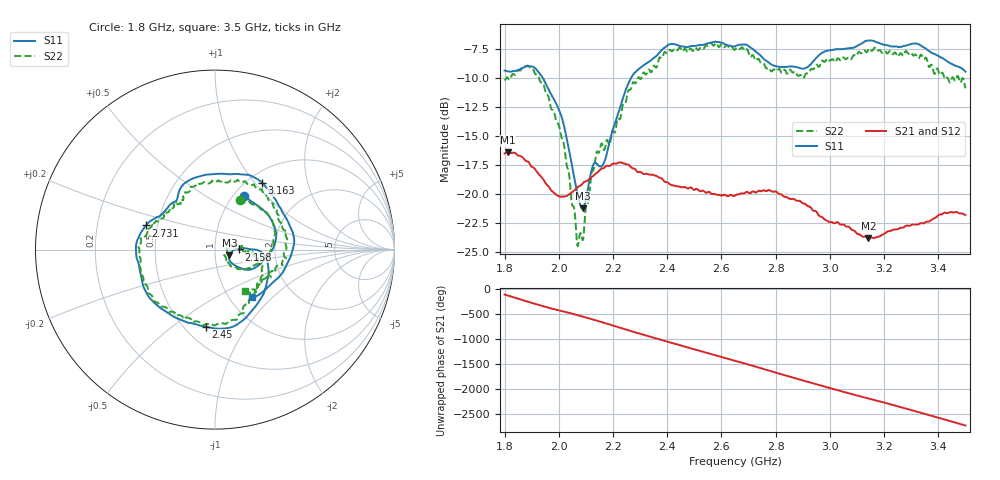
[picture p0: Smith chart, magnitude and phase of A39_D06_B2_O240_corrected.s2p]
! Created with skrf 1.9.0 (http://scikit-rf.org).
# Hz S RI R 50.0
!freq ReS11 ImS11 ReS21 ImS21 ReS12 ImS12 ReS22 ImS22
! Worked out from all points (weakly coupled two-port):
!   1601 points, 1.8 GHz to 3.5 GHz, reference 50 ohm
!   highest |S21| = -16.42 dB at 1.812 GHz (marker M1); lowest = -23.8 dB at 3.142 GHz (marker M2)
!   lowest |S11| = -21.3 dB at 2.088 GHz (marker M3), VSWR 1.19, Z = 58.6 - j3.73 ohm
!   |S11| at or under -10 dB: 1.941 GHz to 2.267 GHz (326 MHz wide, 15.5 % of centre)
!   |S22| runs from -24.5 to -7.0 dB; largest |S21 - S12| = 0.0025
!   S11 on the Smith chart (normalised r, x): 1.8 GHz: 1.12, +0.76; 2.158 GHz: 1.30, +0.00; 2.45 GHz: 0.63, -0.66; 2.731 GHz: 0.43, +0.14; 3.163 GHz: 1.16, +1.09; 3.5 GHz: 1.27, -0.76
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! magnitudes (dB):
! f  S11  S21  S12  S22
! 1.8 GHz  -9.4  -16.5  -16.5  -10.2
! 1.812 GHz  -9.4  -16.4  -16.4  -10.0
! 1.883 GHz  -9.0  -17.2  -17.2  -8.9
! 1.942 GHz  -10.1  -18.7  -18.7  -10.5
! 2.011 GHz  -13.4  -20.2  -20.2  -15.3
! 2.068 GHz  -19.9  -19.5  -19.5  -24.4
! 2.084 GHz  -21.2  -19.2  -19.2  -23.6
! 2.088 GHz  -21.3  -19.1  -19.1  -24.0
! 2.127 GHz  -17.5  -18.4  -18.4  -18.0
! 2.158 GHz  -17.6  -17.8  -17.8  -15.6
! 2.263 GHz  -10.2  -17.6  -17.6  -11.0
! 2.367 GHz  -7.9  -18.6  -18.5  -8.5
! 2.45 GHz  -7.3  -19.4  -19.4  -7.5
! 2.65 GHz  -7.3  -20.2  -20.1  -7.6
! 2.731 GHz  -7.8  -19.8  -19.9  -8.4
! 2.809 GHz  -9.0  -20.0  -19.9  -9.3
! 2.934 GHz  -8.7  -21.3  -21.3  -9.2
! 3.142 GHz  -6.8  -23.8  -23.7  -7.6
! 3.163 GHz  -6.8  -23.8  -23.8  -7.4
! 3.217 GHz  -7.2  -23.2  -23.2  -7.8
! 3.325 GHz  -7.1  -22.6  -22.6  -8.3
! 3.5 GHz  -9.5  -21.8  -21.8  -10.9
